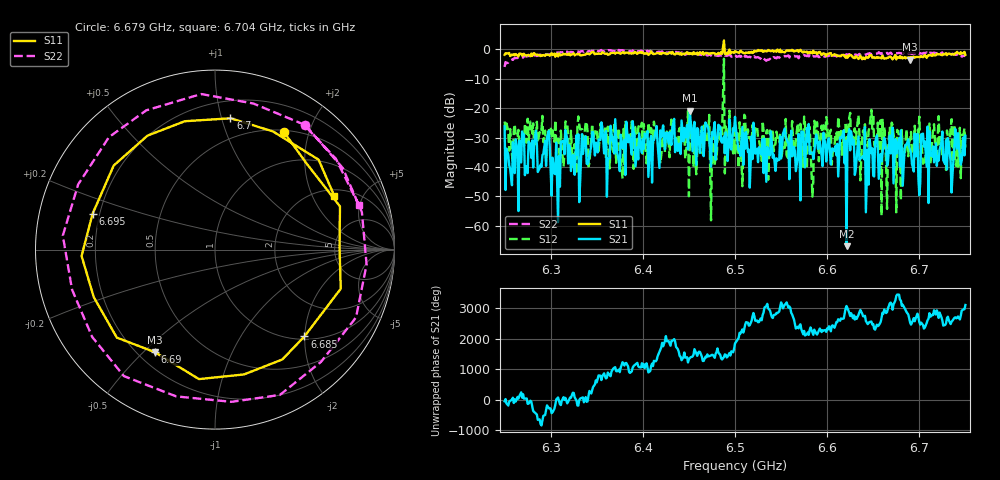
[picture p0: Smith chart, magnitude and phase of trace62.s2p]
# Hz S RI R 50
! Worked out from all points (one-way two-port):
!   401 points, 6.25 GHz to 6.75 GHz, reference 50 ohm
!   highest |S21| = -20.91 dB at 6.451 GHz (marker M1); lowest = -66.9 dB at 6.621 GHz (marker M2)
!   lowest |S11| = -3.6 dB at 6.69 GHz (marker M3), VSWR 4.92, Z = 13.3 - j27.1 ohm
!   |S11| at or under -10 dB: nowhere
!   |S22| runs from -6.1 to -0.2 dB; largest |S21 - S12| = 0.72
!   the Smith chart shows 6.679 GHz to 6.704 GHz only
!   S11 on the Smith chart (normalised r, x): 6.679 GHz: 0.53, +1.62; 6.685 GHz: 1.07, -1.99; 6.69 GHz: 0.27, -0.54; 6.695 GHz: 0.17, +0.14; 6.7 GHz: 0.33, +1.07; 6.704 GHz: 2.33, +2.96
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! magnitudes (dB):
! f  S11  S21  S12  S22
! 6.25 GHz  -1.9  -26.2  -24.6  -6.1
! 6.334 GHz  -2.1  -28.9  -27.2  -0.7
! 6.358 GHz  -1.5  -35.4  -27.8  -0.7
! 6.418 GHz  -1.6  -40.3  -33.4  -0.9
! 6.451 GHz  -1.5  -20.9  -31.6  -1.7
! 6.47 GHz  -1.3  -26.0  -30.7  -2.2
! 6.476 GHz  -1.3  -29.4  -29.2  -2.0
! 6.485 GHz  -1.0  -31.3  -30.5  -2.2
! 6.5 GHz  -0.7  -23.0  -35.3  -2.8
! 6.516 GHz  -1.3  -47.0  -29.9  -2.6
! 6.57 GHz  -0.6  -33.2  -26.5  -2.4
! 6.584 GHz  -1.4  -35.1  -50.0  -2.8
! 6.621 GHz  -2.4  -66.9  -26.8  -1.8
! 6.626 GHz  -2.0  -27.9  -32.1  -1.7
! 6.668 GHz  -2.5  -29.3  -26.7  -1.4
! 6.679 GHz  -2.4  -39.9  -35.2  -1.3
! 6.685 GHz  -3.2  -32.5  -32.6  -1.3
! 6.69 GHz  -3.6  -34.2  -30.6  -1.2
! 6.695 GHz  -3.0  -28.6  -26.0  -1.5
! 6.7 GHz  -2.7  -49.6  -22.9  -1.5
! 6.704 GHz  -2.7  -28.7  -38.9  -1.5
! 6.75 GHz  -2.0  -29.4  -33.4  -2.4
